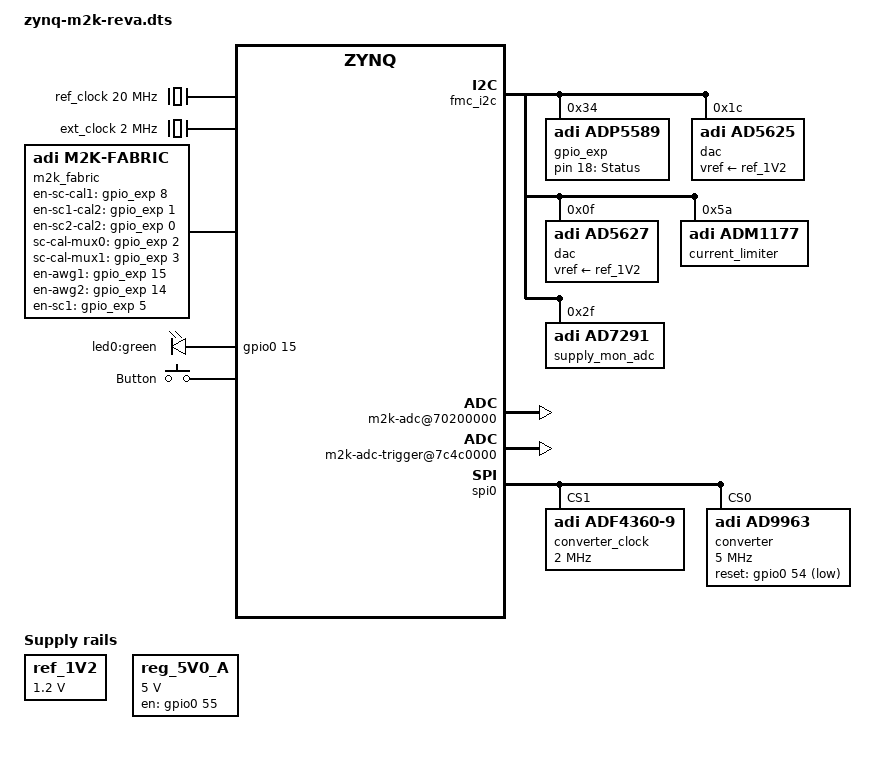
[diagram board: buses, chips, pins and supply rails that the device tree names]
// SPDX-License-Identifier: GPL-2.0
/*
 * Analog Devices ADALM2000
 * https://wiki.analog.com/university/tools/m2k
 * https://wiki.analog.com/university/courses/electronics/labs
 * https://wiki.analog.com/university/tools/adalm2000/devs/intro
 * https://wiki.analog.com/university/tools/m2k/users/quick_start
 *
 * hdl_project: <m2k/standalone>
 * board_revision: <A>
 *
 * Copyright (C) 2018-2019 Analog Devices Inc.
 */
/dts-v1/;

#include "zynq-m2k.dtsi"

#include <dt-bindings/input/input.h>
#include <dt-bindings/gpio/gpio.h>
#include <dt-bindings/interrupt-controller/irq.h>

/ {
	ref_clock: ref-clock {
		#clock-cells = <0>;
		compatible = "fixed-clock";
		clock-frequency = <20000000>;
		clock-output-names = "refclk";
	};

	ext_clock: ext-clock {
		#clock-cells = <0>;
		compatible = "fixed-clock";
		clock-frequency = <2000000>;
		clock-output-names = "extclk";
	};

	/* DAC is running at 1.5x the referene but with 2x interpolation */
	dac_data_clock: dac-data-clock {
		#clock-cells = <0>;
		compatible = "fixed-factor-clock";
		clocks = <&converter_clock>;
		clock-mult = <3>;
		clock-div = <4>;
	};

	m2k_fabric: m2k-fabric {
		compatible = "adi,m2k-fabric";
		clocks = <&converter_clock>;
		adi,revc;

		en-sc-cal1-gpio = <&gpio_exp 8 0>;
		en-sc1-cal2-gpio = <&gpio_exp 1 0>;
		en-sc2-cal2-gpio = <&gpio_exp 0 0>;

		sc-cal-mux0-gpio = <&gpio_exp 2 0>;
		sc-cal-mux1-gpio = <&gpio_exp 3 0>;

		en-awg1-gpio = <&gpio_exp 15 0>;
		en-awg2-gpio = <&gpio_exp 14 0>;
		en-sc1-gpio = <&gpio_exp 5 0>;
		en-sc2-gpio = <&gpio_exp 4 0>;

		en-usr-pow-gpio = <&gpio_exp 6 0>;

		en-sc1-lg-gpio = <&gpio_exp 10 0>;
		en-sc1-hg-gpio = <&gpio_exp 11 0>;
		en-sc2-lg-gpio = <&gpio_exp 12 0>;
		en-sc2-hg-gpio = <&gpio_exp 13 0>;

		adi,powerdown-enable;

	};

	ref_1V2: regulator@0 {
		compatible = "regulator-fixed";

		regulator-name = "REF_1V2";
		regulator-min-microvolt = <1200000>;
		regulator-max-microvolt = <1200000>;
	};

	reg_5V0_A: regulator@1 {
		compatible = "regulator-fixed";

		regulator-name = "5V0_A";
		regulator-min-microvolt = <5000000>;
		regulator-max-microvolt = <5000000>;

		gpio = <&gpio0 55 0>;
		enable-active-high;

		regulator-boot-on;
		regulator-always-on;
	};

	leds0 {
		compatible = "gpio-leds";

		led0 {
			label = "led0:green";
			gpios = <&gpio0 15 0>;
			linux,default-trigger = "heartbeat";
		};
	};

	led_gpio_exp: leds1 {
		compatible = "gpio-leds";

		status {
			label = "Status";
			gpios = <&gpio_exp 18 0>;
			linux,default-trigger = "heartbeat";
		};
	};

	gpio_keys {
		compatible = "gpio-keys";
		#address-cells = <1>;
		#size-cells = <0>;

		button {
			interrupt-parent = <&gpio0>;
			interrupts = <14 IRQ_TYPE_EDGE_FALLING>;
			label = "Button";
			linux,code = <BTN_MISC>;
		};

	};
};

&spi0 {
	status = "okay";

	converter_clock: pll@0 {
		compatible = "adi,adf4360-9";
		reg = <1>;
		spi-max-frequency = <2000000>;

		#clock-cells = <0>;

		clocks = <&ref_clock>;
		clock-names = "clkin";
		clock-output-names = "ADF4360-9";

		adi,loop-filter-charge-pump-current-microamp = <2500>;
		adi,loop-filter-pfd-frequency-hz = <5000000>;
		adi,power-up-frequency-hz = <100000000>;
		adi,power-out-level-microamp = <5000>;
	};

	converter@1 {
		compatible = "adi,ad9963";
		reg = <0>;
		spi-max-frequency = <5000000>;

		reset-gpio = <&gpio0 54 1>;

		clocks = <&converter_clock>;
		clock-names = "clk";
	};
};

/ {
	fpga_axi: fpga-axi@0 {
		compatible = "simple-bus";
		#address-cells = <0x1>;
		#size-cells = <0x1>;
		ranges;

		fmc_i2c: i2c@41600000 {
			compatible = "xlnx,axi-iic-1.01.b", "xlnx,xps-iic-2.00.a";
			interrupt-parent = <&intc>;
			interrupts = <0 58 IRQ_TYPE_LEVEL_HIGH>;
			reg = <0x41600000 0x10000>;
			clocks = <&clkc 15>;
			clock-names = "pclk";

			#size-cells = <0>;
			#address-cells = <1>;

			gpio_exp: gpio@34 {
				compatible = "adi,adp5589";
				reg = <0x34>;

				#gpio-cells = <2>;
				gpio-controller;
			};

			dac@1c {
				compatible = "adi,ad5625";
				reg = <0x1c>;

				vref-supply = <&ref_1V2>;
			};

			dac@0f {
				compatible = "adi,ad5627";
				reg = <0x0f>;

				vref-supply = <&ref_1V2>;
			};

			current_limiter: current_limiter@5a {
				compatible = "adi,adm1177";
				reg = <0x5a>;
				adi,r-sense-mohm = <50>; /* 50 mOhm */
				adi,shutdown-threshold-ma = <1200>; /* 1.200 A */
				adi,vrange-high-enable;
			};

			supply_mon_adc: adc@2f {
				compatible = "adi,ad7291";
				reg = <0x2f>;
			};
		};

		rx_dma0: dma@7c440000 {
			compatible = "adi,axi-dmac-1.00.a";
			reg = <0x7c440000 0x10000>;
			#dma-cells = <1>;
			interrupts = <0 54 IRQ_TYPE_LEVEL_HIGH>;
			clocks = <&clkc 15>;

			adi,channels {
				#size-cells = <0>;
				#address-cells = <1>;

				dma-channel@0 {
					reg = <0>;
					adi,source-bus-width = <32>;
					adi,source-bus-type = <2>;
					adi,destination-bus-width = <64>;
					adi,destination-bus-type = <0>;
				};
			};
		};
	/*
		rx_dma1: dma@7c440000 {
			compatible = "adi,axi-dmac-1.00.a";
			reg = <0x7c460000 0x10000>;
			#dma-cells = <1>;
			interrupts = <0 36 IRQ_TYPE_LEVEL_HIGH>;
			clocks = <&clkc 15>;

			dma-channel {
				adi,buswidth = <64>;
				adi,type = <0>;
			};
		};
	*/
		tx_dma0: dma@7c480000 {
			compatible = "adi,axi-dmac-1.00.a";
			reg = <0x7c480000 0x10000>;
			#dma-cells = <1>;
			interrupts = <0 53 IRQ_TYPE_LEVEL_HIGH>;
			clocks = <&clkc 15>;

			adi,channels {
				#size-cells = <0>;
				#address-cells = <1>;

				dma-channel@0 {
					reg = <0>;
					adi,source-bus-width = <64>;
					adi,source-bus-type = <0>;
					adi,destination-bus-width = <16>;
					adi,destination-bus-type = <2>;
				};
			};
		};

		tx_dma1: dma@7c460000 {
			compatible = "adi,axi-dmac-1.00.a";
			reg = <0x7c460000 0x10000>;
			#dma-cells = <1>;
			interrupts = <0 52 IRQ_TYPE_LEVEL_HIGH>;
			clocks = <&clkc 15>;

			adi,channels {
				#size-cells = <0>;
				#address-cells = <1>;

				dma-channel@0 {
					reg = <0>;
					adi,source-bus-width = <64>;
					adi,source-bus-type = <0>;
					adi,destination-bus-width = <16>;
					adi,destination-bus-type = <2>;
				};
			};
		};

		m2k-adc@70200000 {
			compatible = "adi,m2k-adc-1.00.a";
			reg = <0x70200000 0x10000>, <0x7c500000 0x10000>;
			clocks = <&converter_clock>;
			dmas = <&rx_dma0 0>;
			dma-names = "rx";
		};

		dds: m2k-dds@70204000 {
			compatible = "adi,axi-ad9963-dds-1.00.a";
			reg = <0x70204000 0x10000>;
			clocks = <&dac_data_clock>;
			clock-names = "sampl_clk";

			adi,axi-dds-default-scale = <0x800>;
			adi,axi-dds-default-frequency = <1000000>;
		};

		m2k-dac@7c5a0000 {
			compatible = "adi,m2k-dac-1.00.a";
			reg = <0x7c5a0000 0x10000>;
			clocks = <&dac_data_clock>;
			clock-names = "dac_clk";
			dmas = <&tx_dma0 0 &tx_dma1 0>;
			dma-names = "tx0", "tx1";

			dds-connected = <&dds>;
		};

		logic_analyzer_rx_dma: dma@7c400000 {
			compatible = "adi,axi-dmac-1.00.a";
			reg = <0x7c400000 0x10000>;

			#dma-cells = <1>;
			interrupts = <0 57 IRQ_TYPE_LEVEL_HIGH>;
			clocks = <&clkc 15>;

			adi,channels {
				#size-cells = <0>;
				#address-cells = <1>;

				dma-channel@0 {
					reg = <0>;
					adi,source-bus-width = <16>;
					adi,source-bus-type = <2>;
					adi,destination-bus-width = <64>;
					adi,destination-bus-type = <0>;
				};
			};
		};

		logic_analyzer_tx_dma: dma@7c420000 {
			compatible = "adi,axi-dmac-1.00.a";
			reg = <0x7c420000 0x10000>;

			#dma-cells = <1>;
			interrupts = <0 56 IRQ_TYPE_LEVEL_HIGH>;
			clocks = <&clkc 15>;

			adi,channels {
				#size-cells = <0>;
				#address-cells = <1>;

				dma-channel@0 {
					reg = <0>;
					adi,source-bus-width = <64>;
					adi,source-bus-type = <0>;
					adi,destination-bus-width = <16>;
					adi,destination-bus-type = <2>;
				};
			};
		};

		logic_analyzer@70100000 {
			compatible = "adi,m2k-logic-analyzer";
			reg = <0x70100000 0x10000>;

			clocks = <&clkc 17>;

			dmas = <&logic_analyzer_tx_dma 0>, <&logic_analyzer_rx_dma 0>;
			dma-names = "tx", "rx";
		};

		m2k-adc-trigger@7c4c0000 {
			compatible = "adi,axi-adc-trigger";
			reg = <0x7c4c0000 0x10000>;
			clocks = <&converter_clock>;
		};
	};
};

